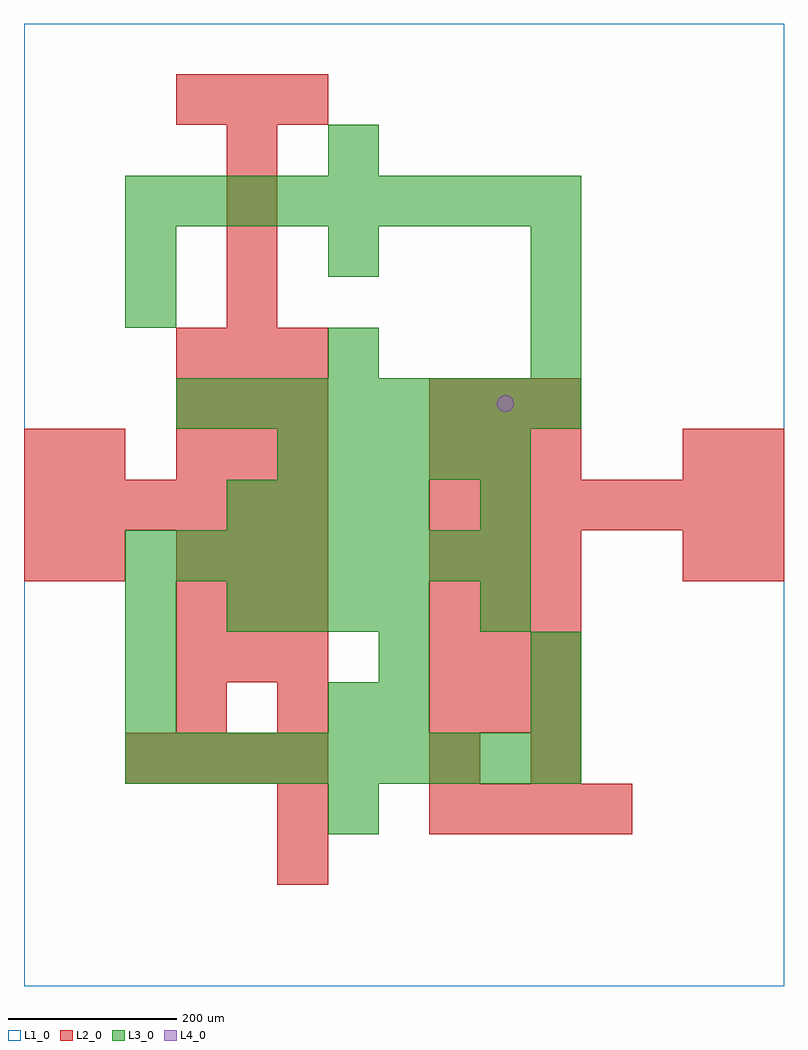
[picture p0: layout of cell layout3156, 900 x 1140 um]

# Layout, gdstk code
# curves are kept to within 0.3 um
import gdstk
lib = gdstk.Library(unit=1e-6, precision=1e-09)
def R(c, l, rs):  # rectangles x0, y0, x1, y1
    for r in rs: c.add(gdstk.rectangle(r[:2], r[2:], *l))
def A(c, l, x, y, w, h, nx, ny, dx, dy):  # array of equal rectangles
    R(c, l, [(x+i*dx, y+j*dy, x+i*dx+w, y+j*dy+h) for i in range(nx) for j in range(ny)])
def P(c, l, *ps):  # polygons
    for p in ps: c.add(gdstk.Polygon(p, *l))
L1_0 = (1, 0)
L2_0 = (2, 0)
L3_0 = (3, 0)
L4_0 = (4, 0)

layout3156 = lib.new_cell('layout3156')
R(layout3156, L1_0, [(0,0,900,1140)])
A(layout3156, L2_0, 480, 180, 60, 60, 4, 1, 60, 0)
A(layout3156, L2_0, 120, 240, 60, 60, 4, 1, 60, 0)
A(layout3156, L2_0, 480, 300, 60, 60, 3, 4, 60, 60)
A(layout3156, L2_0, 180, 360, 60, 60, 3, 3, 60, 60)
A(layout3156, L2_0, 0, 540, 60, 60, 6, 1, 60, 0)
A(layout3156, L2_0, 480, 540, 60, 60, 7, 1, 60, 0)
A(layout3156, L2_0, 180, 600, 60, 60, 3, 3, 60, 60)
A(layout3156, L2_0, 480, 600, 60, 60, 3, 2, 60, 60)
A(layout3156, L2_0, 240, 780, 60, 60, 1, 4, 0, 60)
A(layout3156, L2_0, 180, 1020, 60, 60, 3, 1, 60, 0)
R(layout3156, L2_0, [(300,120,360,180), (300,180,360,240), (480,240,540,300), (600,240,660,300), (180,300,240,360), (300,300,360,360), (0,480,60,540), (60,480,120,540), (780,480,840,540), (840,480,900,540), (0,600,60,660), (60,600,120,660), (780,600,840,660), (840,600,900,660)])
A(layout3156, L3_0, 120, 240, 60, 60, 9, 2, 60, 660)
A(layout3156, L3_0, 120, 300, 60, 60, 1, 3, 0, 60)
A(layout3156, L3_0, 240, 420, 60, 60, 4, 2, 60, 120)
A(layout3156, L3_0, 120, 480, 60, 60, 8, 1, 60, 0)
A(layout3156, L3_0, 300, 600, 60, 60, 5, 1, 60, 0)
A(layout3156, L3_0, 180, 660, 60, 60, 8, 1, 60, 0)
A(layout3156, L3_0, 120, 840, 60, 60, 3, 1, 240, 0)
R(layout3156, L3_0, [(360,180,420,240), (360,300,420,360), (420,300,480,360), (600,300,660,360), (420,360,480,420), (600,360,660,420), (540,420,600,480), (540,540,600,600), (360,720,420,780), (600,720,660,780), (120,780,180,840), (600,780,660,840), (360,960,420,1020)])
P(layout3156, L4_0, [(580,690),(579.239,693.827),(577.071,697.071),(573.827,699.239),(570,700),(566.173,699.239),(562.929,697.071),(560.761,693.827),(560,690),(560.761,686.173),(562.929,682.929),(566.173,680.761),(570,680),(573.827,680.761),(577.071,682.929),(579.239,686.173)])

lib.write_gds('layout3156.gds')
